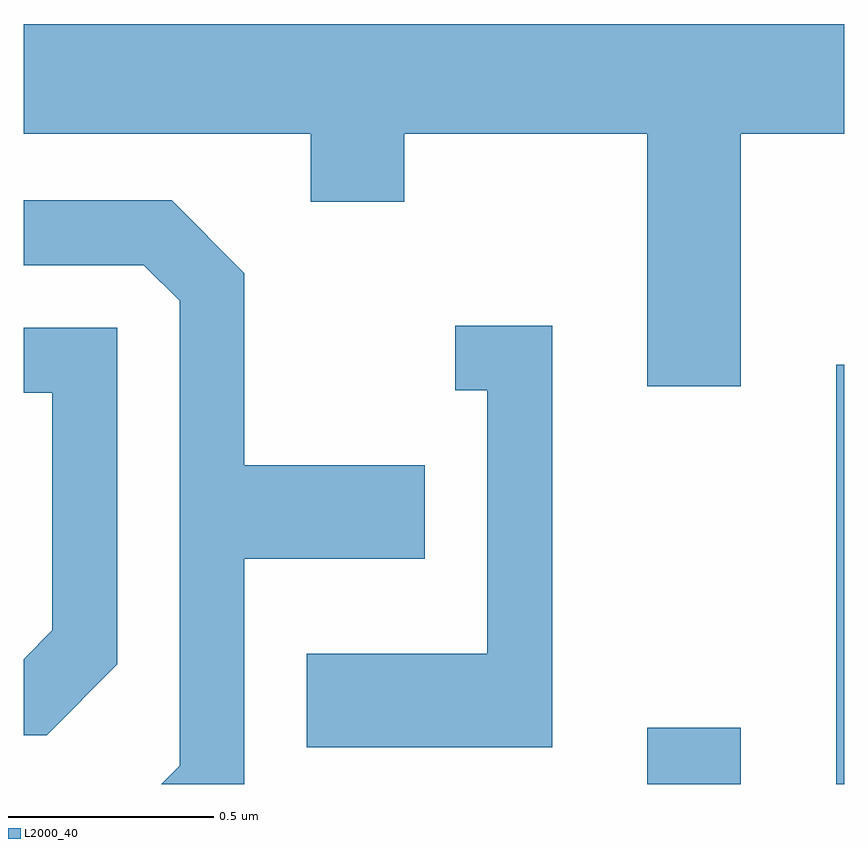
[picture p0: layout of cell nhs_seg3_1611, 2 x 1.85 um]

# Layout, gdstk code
import gdstk
lib = gdstk.Library(unit=1e-6, precision=1e-09)
def R(c, l, rs):  # rectangles x0, y0, x1, y1
    for r in rs: c.add(gdstk.rectangle(r[:2], r[2:], *l))
def P(c, l, *ps):  # polygons
    for p in ps: c.add(gdstk.Polygon(p, *l))
L2000_40 = (2000, 40)

nhs_seg3_1611 = lib.new_cell('nhs_seg3_1611')
R(nhs_seg3_1611, L2000_40, [(198.131,1219.892,198.359,1220.029), (198.591,1219.892,198.611,1220.914)])
P(nhs_seg3_1611, L2000_40, [(198.359,1221.476),(198.611,1221.476),(198.611,1221.744),(196.611,1221.744),(196.611,1221.476),(197.311,1221.476),(197.311,1221.311),(197.539,1221.311),(197.539,1221.476),(198.131,1221.476),(198.131,1220.861),(198.359,1220.861)],
  [(197.149,1220.441),(197.589,1220.441),(197.589,1220.669),(197.149,1220.669),(197.149,1221.137),(196.972,1221.314),(196.611,1221.314),(196.611,1221.156),(196.904,1221.156),(196.991,1221.069),(196.991,1219.937),(196.946,1219.892),(197.149,1219.892)],
  [(197.899,1221.009),(197.663,1221.009),(197.663,1220.851),(197.741,1220.851),(197.741,1220.209),(197.301,1220.209),(197.301,1219.981),(197.899,1219.981)],
  [(196.839,1220.184),(196.839,1221.004),(196.611,1221.004),(196.611,1220.846),(196.681,1220.846),(196.681,1220.267),(196.611,1220.196),(196.611,1220.011),(196.667,1220.011)])

lib.write_gds('nhs_seg3_1611.gds')
